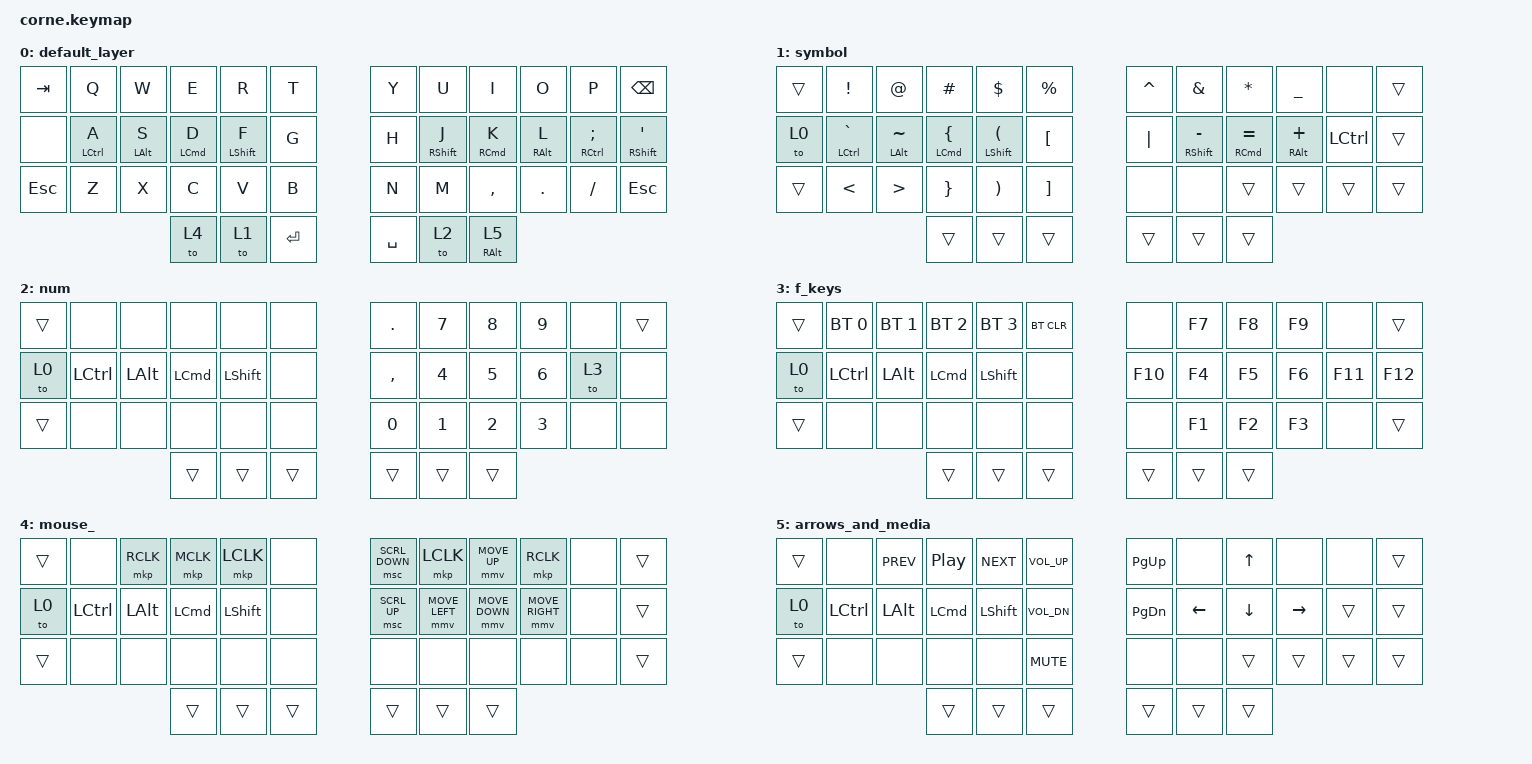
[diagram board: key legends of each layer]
/*
* Copyright (c) 2020 The ZMK Contributors
*
* SPDX-License-Identifier: MIT
*/

/*
╭────────────────────────┬────────────────────────╮
│  0   1   2   3   4   5 │  6   7   8   9  10  11 │
│ 12  13  14  15  16  17 │ 18  19  20  21  22  23 │
│ 24  25  26  27  28  29 │ 30  31  32  33  34  35 │
╰───────────╮ 36  37  38 │ 39  40  41 ╭───────────╯
............╰────────────┴────────────╯
*/


#include <behaviors.dtsi>
#include <dt-bindings/zmk/pointing.h>

/* use helper macros to define left and right hand keys */
#include "./helper.h"
#include "./keypos_42keys.h"// keyposition helpers
#include <dt-bindings/zmk/bt.h>
#include <dt-bindings/zmk/keys.h>



/* ------ MOUSE CLICK SETTINGS----- */
#define ZMK_POINTING_DEFAULT_MOVE_VAL 1100// default: 600 the default value of the max speed depends on this
#define ZMK_POINTING_DEFAULT_SCRL_VAL 10// default: 10

&mmv {
	// x-input-code = <INPUT_REL_X>;
	// y-input-code = <INPUT_REL_Y>;
	time-to-max-speed-ms = <700>;// DEFAULT: 300
	acceleration-exponent = <1>;
};

/* ------MOUSE SCROLL SETTINGS----- */
&msc {
	// x-input-code = <INPUT_REL_HWHEEL>;
	// y-input-code = <INPUT_REL_WHEEL>;
	time-to-max-speed-ms = <700>;// DEFAULT: 300
	acceleration-exponent = <0>;
};


// #define U_MOUSE_SCROLL_MAX 15                    /* <--- New max speed setting (default: 10) */

/* ------------------------------- */

/ {
	behaviors {
		hml: hml {
			compatible = "zmk,behavior-hold-tap";
			#binding-cells = <2>;
			bindings = <&kp>, <&kp>;
			
			tapping-term-ms = <280>;
			flavor = "balanced";
			quick-tap-ms = <175>;
			require-prior-idle-ms = <150>;
			hold-trigger-key-positions = <6 7 8 9 10 11 18 19 20 21 22 23 30 31 32 33 34 35 39 40 41 38 37 36>;
			hold-trigger-on-release;
		};
		
		hmr: hmr {
			compatible = "zmk,behavior-hold-tap";
			#binding-cells = <2>;
			bindings = <&kp>, <&kp>;
			
			tapping-term-ms = <280>;
			flavor = "balanced";
			
			// when pressed _again_ within this time tap behavior will be triggered
			
			quick-tap-ms = <175>;
			
			// require-prior-idle-ms is like quick-tap-ms however it will apply for any non-modifier key pressed before it. 
			//  dus key a > shift b (shift b is dan waar dit gedefineerd is) binnen deze tijd is alijd ab.
			// This effectively disables the hold-tap when typing quickly.
			
			require-prior-idle-ms = <150>;
			
			// if you press any key NOT listed in hold-trigger-key-positions before tapping-term-ms expires, it will produce a tap.
			// dus een key die wel in deze lijst staat houd de hold trigger aan.
			
			hold-trigger-key-positions = <0 1 2 3 4 5 12 13 14 15 16 17 24 25 26 27 28 29 36 37 38 39 41 40>;
			hold-trigger-on-release;
		};
		
		moto: moto {
			compatible = "zmk,behavior-hold-tap";
			bindings = <&kp>, <&to>;
			
			#binding-cells = <2>;
			tapping-term-ms = <200>;
		};
	};
	
	keymap {
		compatible = "zmk,keymap";
		
		default_layer {
			// -----------------------------------------------------------------------------------------
			// |  TAB |  Q  |  W  |  E  |  R  |  T  |   |  Y  |  U   |  I  |  O  |  P  | BKSP |
			// | CTRL |  A  |  S  |  D  |  F  |  G  |   |  H  |  J   |  K  |  L  |  ;  |  '   |
			// | SHFT |  Z  |  X  |  C  |  V  |  B  |   |  N  |  M   |  ,  |  .  |  /  | ESC  |
			//                    | GUI | LWR | SPC |   | ENT | RSE  | ALT |
			
			bindings = <
			&kp TAB     &kp Q         &kp W            &kp E                 &kp R              &kp T         &kp Y      &kp U               &kp I                 &kp O             &kp P                 &kp BSPC
			&none       &hml LCTRL A  &hml LEFT_ALT S  &hml LEFT_COMMAND D   &hml LEFT_SHIFT F  &kp G         &kp H      &hmr RIGHT_SHIFT J  &hmr RIGHT_COMMAND K  &hmr RIGHT_ALT L  &hmr RCTRL SEMICOLON  &hmr RIGHT_SHIFT APOS
			&kp ESCAPE  &kp Z         &kp X            &kp C                 &kp V              &kp B         &kp N      &kp M               &kp COMMA             &kp DOT           &kp FSLH              &kp ESC
			 &to 4  &to 1              &kp RETURN    &kp SPACE  &to 2               &moto RIGHT_ALT 5
			>;
		};
		
		symbol {
			bindings = <
			&trans  &kp EXCLAMATION   &kp AT               &kp HASH                      &kp DOLLAR                        &kp PERCENT          &kp CARET  &kp AMPS                &kp ASTERISK              &kp UNDERSCORE       &none      &trans
			&to 0   &hml LCTRL GRAVE  &hml LEFT_ALT TILDE  &hml LEFT_COMMAND LEFT_BRACE  &hml LEFT_SHIFT LEFT_PARENTHESIS  &kp LEFT_BRACKET     &kp PIPE   &hmr RIGHT_SHIFT MINUS  &hmr RIGHT_COMMAND EQUAL  &hmr RIGHT_ALT PLUS  &kp LCTRL  &trans
			&trans  &kp LESS_THAN     &kp GREATER_THAN     &kp RIGHT_BRACE               &kp RIGHT_PARENTHESIS             &kp RIGHT_BRACKET    &none      &none                   &trans                    &trans               &trans     &trans
			&trans                        &trans                            &trans               &trans     &trans                  &trans
			>;
		};
		
		num {
			// -----------------------------------------------------------------------------------------
			// |  TAB |  1  |  2  |  3  |  4  |  5  |   |  6  |  7  |  8  |  9  |  0  | BKSP |
			// | BTCLR| BT1 | BT2 | BT3 | BT4 | BT5 |   | LFT | DWN |  UP | RGT |     |      |
			// | SHFT |     |     |     |     |     |   |     |     |     |     |     |      |
			//                    | GUI |     | SPC |   | ENT |     | ALT |
			
			bindings = <
			&trans  &none      &none         &none             &none           &none     &kp PERIOD    &kp N7  &kp N8  &kp N9  &none  &trans
			&to 0   &kp LCTRL  &kp LEFT_ALT  &kp LEFT_COMMAND  &kp LEFT_SHIFT  &none     &kp COMMA     &kp N4  &kp N5  &kp N6  &to 3  &none
			&trans  &none      &none         &none             &none           &none     &kp NUMBER_0  &kp N1  &kp N2  &kp N3  &none  &none
			&trans            &trans          &trans    &trans        &trans  &trans
			>;
		};
		
		f_keys {
			bindings = <
			&trans  &bt BT_SEL 0  &bt BT_SEL 1  &bt BT_SEL 2      &bt BT_SEL 3    &bt BT_CLR    &none    &kp F7  &kp F8  &kp F9  &none    &trans
			&to 0   &kp LCTRL     &kp LEFT_ALT  &kp LEFT_COMMAND  &kp LEFT_SHIFT  &none         &kp F10  &kp F4  &kp F5  &kp F6  &kp F11  &kp F12
			&trans  &none         &none         &none             &none           &none         &none    &kp F1  &kp F2  &kp F3  &none    &trans
			&trans            &trans          &trans        &trans   &trans  &trans
			>;
		};
		
		mouse_ {
			bindings = <
			&trans  &none      &mkp RCLK     &mkp MCLK         &mkp LCLK       &none     &msc SCRL_DOWN  &mkp LCLK       &mmv MOVE_UP    &mkp RCLK        &none  &trans
			&to 0   &kp LCTRL  &kp LEFT_ALT  &kp LEFT_COMMAND  &kp LEFT_SHIFT  &none     &msc SCRL_UP    &mmv MOVE_LEFT  &mmv MOVE_DOWN  &mmv MOVE_RIGHT  &none  &trans
			&trans  &none      &none         &none             &none           &none     &none             &none           &none           &none            &none  &trans
			&trans            &trans          &trans    &trans            &trans          &trans
			>;
		};
		
		arrows_and_media {
			bindings = <
			&trans  &none      &kp C_PREV    &kp C_PP          &kp C_NEXT      &kp C_VOLUME_UP    &kp PAGE_UP    &none     &kp UP_ARROW  &none      &none   &trans
			&to 0   &kp LCTRL  &kp LEFT_ALT  &kp LEFT_COMMAND  &kp LEFT_SHIFT  &kp C_VOL_DN       &kp PAGE_DOWN  &kp LEFT  &kp DOWN      &kp RIGHT  &trans  &trans
			&trans  &none      &none         &none             &none           &kp K_MUTE         &none          &none     &trans        &trans     &trans  &trans
			&trans            &trans          &trans             &trans         &trans    &trans
			>;
		};
	};
};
